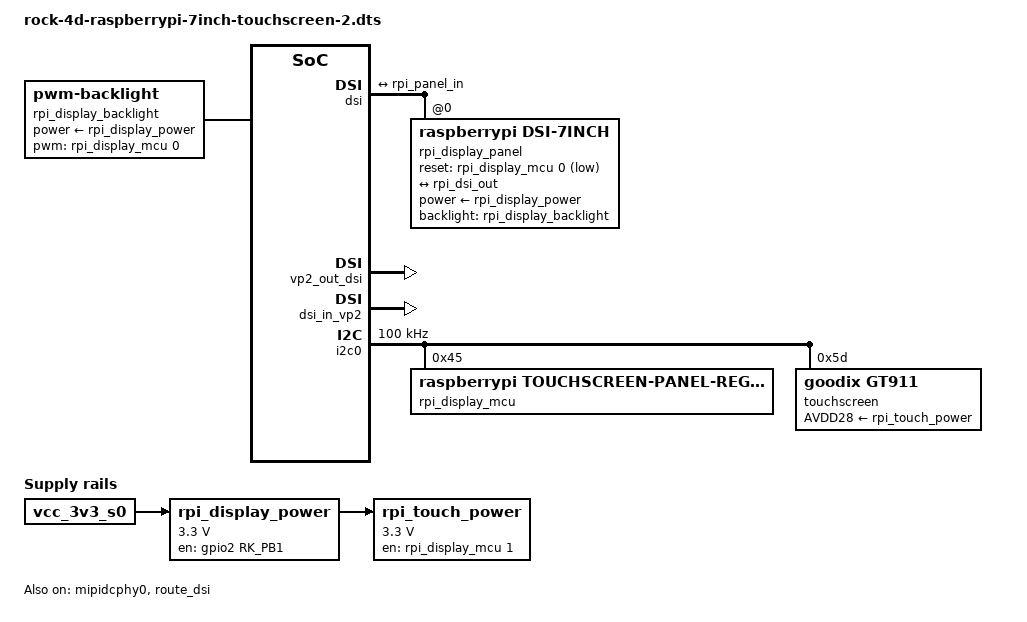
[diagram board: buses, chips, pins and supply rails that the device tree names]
/dts-v1/;
/plugin/;

#include <dt-bindings/gpio/gpio.h>
#include <dt-bindings/pinctrl/rockchip.h>

/ {
	metadata {
		title = "Enable Raspberry Pi 7-inch Touchscreen 2";
		compatible = "radxa,rock-4d";
		category = "display";
		exclusive = "GPIO2_B1", "dsi", "i2c0";
		description = "Enable Raspberry Pi 7-inch Touchscreen 2.";
	};
};

&{/} {
	rpi_display_power: regulator-rpi-display {
		compatible = "regulator-fixed";
		regulator-name = "rpi-display";
		regulator-min-microvolt = <3300000>;
		regulator-max-microvolt = <3300000>;
		gpio = <&gpio2 RK_PB1 GPIO_ACTIVE_HIGH>;
		enable-active-high;
		regulator-always-on;
		startup-delay-us = <100000>;
		vin-supply = <&vcc_3v3_s0>;
	};

	rpi_display_backlight: backlight-rpi-display {
		compatible = "pwm-backlight";
		power-supply = <&rpi_display_power>;
		pwms = <&rpi_display_mcu 0 255 0>;
	};

	rpi_touch_power: regulator-rpi-touch {
		compatible = "regulator-fixed";
		gpio = <&rpi_display_mcu 1 GPIO_ACTIVE_HIGH>;
		regulator-name = "rpi-touch";
		regulator-min-microvolt = <3300000>;
		regulator-max-microvolt = <3300000>;
		startup-delay-us = <50000>;
		enable-active-high;
		vin-supply = <&rpi_display_power>;
	};
};

&dsi {
	status = "okay";
	#address-cells = <1>;
	#size-cells = <0>;

	rpi_display_panel: panel@0 {
		compatible = "raspberrypi,dsi-7inch", "ilitek,ili9881c";
		reg = <0>;
		power-supply = <&rpi_display_power>;
		reset-gpios = <&rpi_display_mcu 0 GPIO_ACTIVE_LOW>;
		backlight = <&rpi_display_backlight>;

		port {
			rpi_panel_in: endpoint {
				remote-endpoint = <&rpi_dsi_out>;
			};
		};
	};

	ports {
		#address-cells = <1>;
		#size-cells = <0>;

		port@1 {
			reg = <1>;
			rpi_dsi_out: endpoint {
				remote-endpoint = <&rpi_panel_in>;
			};
		};
	};
};

&mipidcphy0 {
	status = "okay";
};

&route_dsi {
	status = "okay";
	connect = <&vp2_out_dsi>;
};

&vp2_out_dsi {
	status = "okay";
};

&dsi_in_vp2 {
	status = "okay";
};

&vp1_out_dsi {
	status = "disabled";
};

&dsi_in_vp1 {
	status = "disabled";
};

&i2c0 {
	status = "okay";
	clock-frequency = <100000>;
	pinctrl-names = "default";
	pinctrl-0 = <&i2c0m1_xfer>;
	#address-cells = <1>;
	#size-cells = <0>;

	rpi_display_mcu: regulator@45 {
		compatible = "raspberrypi,touchscreen-panel-regulator-v2";
		reg = <0x45>;
		gpio-controller;
		#gpio-cells = <2>;
		#pwm-cells = <3>;
	};

	touchscreen@5d {
		compatible = "goodix,gt911";
		reg = <0x5d>;
		AVDD28-supply = <&rpi_touch_power>;
		touchscreen-size-x = <720>;
		touchscreen-size-y = <1280>;
	};
};
